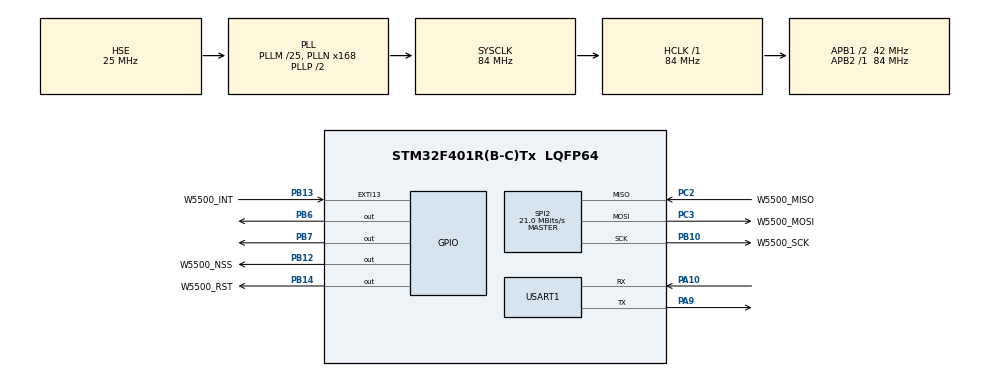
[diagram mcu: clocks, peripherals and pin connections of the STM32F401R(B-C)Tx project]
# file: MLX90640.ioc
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Dma.Request0=USART1_TX
Dma.Request1=USART1_RX
Dma.USART1_RX.1.Direction=DMA_PERIPH_TO_MEMORY
Dma.USART1_RX.1.FIFOMode=DMA_FIFOMODE_DISABLE
Dma.USART1_RX.1.Instance=DMA2_Stream2
Dma.USART1_RX.1.MemDataAlignment=DMA_MDATAALIGN_BYTE
Dma.USART1_RX.1.MemInc=DMA_MINC_ENABLE
Dma.USART1_RX.1.Mode=DMA_CIRCULAR
Dma.USART1_RX.1.PeriphDataAlignment=DMA_PDATAALIGN_BYTE
Dma.USART1_RX.1.PeriphInc=DMA_PINC_DISABLE
Dma.USART1_RX.1.Priority=DMA_PRIORITY_LOW
Dma.USART1_TX.0.Direction=DMA_MEMORY_TO_PERIPH
Dma.USART1_TX.0.FIFOMode=DMA_FIFOMODE_DISABLE
Dma.USART1_TX.0.Instance=DMA2_Stream7
Dma.USART1_TX.0.MemDataAlignment=DMA_MDATAALIGN_BYTE
Dma.USART1_TX.0.MemInc=DMA_MINC_ENABLE
Dma.USART1_TX.0.Mode=DMA_NORMAL
Dma.USART1_TX.0.PeriphDataAlignment=DMA_PDATAALIGN_BYTE
Dma.USART1_TX.0.PeriphInc=DMA_PINC_DISABLE
Dma.USART1_TX.0.Priority=DMA_PRIORITY_LOW
Mcu.Family=STM32F4
Mcu.Name=STM32F401R(B-C)Tx
Mcu.Package=LQFP64
NVIC.DMA2_Stream2_IRQn=true\:0\:0\:false\:false\:true\:false\:true
NVIC.DMA2_Stream7_IRQn=true\:0\:0\:false\:false\:true\:false\:true
NVIC.PriorityGroup=NVIC_PRIORITYGROUP_4
NVIC.USART1_IRQn=true\:0\:0\:false\:false\:true\:true\:true
PA10.Mode=Asynchronous
PA10.Signal=USART1_RX
PA13.Mode=Serial_Wire
PA13.Signal=SYS_JTMS-SWDIO
PA14.Mode=Serial_Wire
PA14.Signal=SYS_JTCK-SWCLK
PA9.Mode=Asynchronous
PA9.Signal=USART1_TX
PB10.GPIO_Label=W5500_SCK
PB10.Mode=Full_Duplex_Master
PB10.Signal=SPI2_SCK
PB12.GPIO_Label=W5500_NSS
PB12.Signal=GPIO_Output
PB13.GPIO_Label=W5500_INT
PB13.Signal=GPXTI13
PB14.GPIO_Label=W5500_RST
PB14.Signal=GPIO_Output
PB6.Signal=GPIO_Output
PB7.Signal=GPIO_Output
PC2.GPIO_Label=W5500_MISO
PC2.Mode=Full_Duplex_Master
PC2.Signal=SPI2_MISO
PC3.GPIO_Label=W5500_MOSI
PC3.Mode=Full_Duplex_Master
PC3.Signal=SPI2_MOSI
PH0\ -\ OSC_IN.Mode=HSE-External-Oscillator
PH0\ -\ OSC_IN.Signal=RCC_OSC_IN
PH1\ -\ OSC_OUT.Mode=HSE-External-Oscillator
PH1\ -\ OSC_OUT.Signal=RCC_OSC_OUT
ProjectManager.HeapSize=0x2000
ProjectManager.StackSize=0x5000
ProjectManager.TargetToolchain=STM32CubeIDE
RCC.48MHZClocksFreq_Value=42000000
RCC.AHBFreq_Value=84000000
RCC.APB1CLKDivider=RCC_HCLK_DIV2
RCC.APB1Freq_Value=42000000
RCC.APB1TimFreq_Value=84000000
RCC.APB2Freq_Value=84000000
RCC.APB2TimFreq_Value=84000000
RCC.CortexFreq_Value=84000000
RCC.HCLKFreq_Value=84000000
RCC.HSE_VALUE=25000000
RCC.HSI_VALUE=16000000
RCC.LSE_VALUE=32768
RCC.PLLM=25
RCC.PLLN=168
RCC.PLLSourceVirtual=RCC_PLLSOURCE_HSE
RCC.SYSCLKFreq_VALUE=84000000
RCC.SYSCLKSource=RCC_SYSCLKSOURCE_PLLCLK
RCC.VCOOutputFreq_Value=168000000
SPI2.BaudRatePrescaler=SPI_BAUDRATEPRESCALER_2
SPI2.CLKPolarity=SPI_POLARITY_LOW
SPI2.CalculateBaudRate=21.0 MBits/s
SPI2.Direction=SPI_DIRECTION_2LINES
SPI2.Mode=SPI_MODE_MASTER
SPI2.VirtualType=VM_MASTER
USART1.VirtualMode=VM_ASYNC
board=custom

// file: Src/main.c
/* USER CODE BEGIN Header */
/**
  ******************************************************************************
  * @file           : main.c
  * @brief          : Main program body
  ******************************************************************************
  * @attention
  *
  * <h2><center>&copy; Copyright (c) 2019 STMicroelectronics.
  * All rights reserved.</center></h2>
  *
  * This software component is licensed by ST under BSD 3-Clause license,
  * the "License"; You may not use this file except in compliance with the
  * License. You may obtain a copy of the License at:
  *                        opensource.org/licenses/BSD-3-Clause
  *
  ******************************************************************************
  */
/* USER CODE END Header */

#include "main.h"
#include "dma.h"
#include "spi.h"
#include "usart.h"
#include "gpio.h"

/* USER CODE BEGIN Includes */
#include "delay.h"
#include "MLX90640_API.h"
#include "network.h"
#include "w5500.h"
#include "socket.h"

#include "stm32f4xx_hal_uart.h"
/* USER CODE END Includes */

/* USER CODE BEGIN PD */
#define  Rate2HZ   0x02
#define  Rate4HZ   0x03
#define  Rate8HZ   0x04
#define  Rate16HZ  0x05
#define  Rate32HZ  0x06

#define  MLX_I2C_ADDR 0x33
#define	 RefreshRate Rate4HZ
#define  TA_SHIFT 8 //Default shift for MLX90640 in open air
#define USART1_RXBUF_SIZE 40
#define		GET_PREV_INDEX(index)	((index <= 0)? USART1_RXBUF_SIZE-1: index-1)
#define		GET_NEXT_INDEX(index)	((index >= USART1_RXBUF_SIZE-1)? 0: index+1)
/* USER CODE END PD */

/* USER CODE BEGIN PM */
static uint16_t USART1_RxIndex = 0;
static FlagStatus USART1_RXFLAG = RESET;
uint8_t read_buffer[40];
extern DMA_HandleTypeDef hdma_usart1_rx;
struct ConfigPack config_pack;
/* USER CODE END PM */

/* USER CODE BEGIN PV */
uint32_t USART1_Read(uint8_t * const buf, uint32_t length);
void writeConfifPackToFlash();
void readConfigPackFromFlash();
/* USER CODE END PV */

void SystemClock_Config(void);

/* USER CODE BEGIN 0 */

struct UploadNetwork
{
	unsigned long id;
	float target_temperature;
	float self_temperature;

};

struct UploadUart
{
	unsigned short start;
	unsigned short target_temperature[768];
	unsigned short self_temperature;
};

struct ConfigPack
{
    unsigned char id;
    unsigned char sip[4];
    unsigned char dip[4];
    unsigned short s_port;
    unsigned short d_port;
    unsigned char row_start;
    unsigned char row_end;
    unsigned char column_start;
    unsigned char column_end;
};

/* USER CODE END 0 */

int main(void)
{
  /* USER CODE BEGIN 1 */
	static uint16_t eeMLX90640[832];
	uint16_t frame[834];
	float Ta,tr;
	float emissivity=0.95;
	static float mlx90640To[768];
	u16 i=0;
	struct UploadUart upload_uart;
	upload_uart.start = 0x697e; //~!
	struct UploadNetwork upload_network;
	upload_network.id = DEVICE_ID;

  /* USER CODE END 1 */

  /* MCU Configuration--------------------------------------------------------*/

  /* Reset of all peripherals, Initializes the Flash interface and the Systick. */
  HAL_Init();

  /* Configure the system clock */
  SystemClock_Config();

  /* Initialize all configured peripherals */
  MX_GPIO_Init();
  MX_DMA_Init();
  MX_SPI2_Init();
  MX_USART1_UART_Init();
  /* USER CODE BEGIN 2 */

	HAL_UART_Receive_DMA(&huart1, read_buffer, 40);
	readConfigPackFromFlash();
	network_init();

	Delay_Init(84);
	MLX90640_SetRefreshRate(MLX_I2C_ADDR, RefreshRate);
	MLX90640_SetChessMode(MLX_I2C_ADDR);
	paramsMLX90640 mlx90640;
	MLX90640_DumpEE(MLX_I2C_ADDR, eeMLX90640);
	MLX90640_ExtractParameters(eeMLX90640, &mlx90640);

	for(i=0;i<3;i++)//Lose the start frame
	{
			MLX90640_GetFrameData(MLX_I2C_ADDR, frame);
			delay_ms(500);
	}
  /* USER CODE END 2 */

  /* Infinite loop */
  while (1)
  {

    /* USER CODE BEGIN 3 */
		MLX90640_GetFrameData(MLX_I2C_ADDR, frame);
		Ta = MLX90640_GetTa(frame, &mlx90640);
		tr = Ta - TA_SHIFT;
		MLX90640_CalculateTo(frame, &mlx90640, emissivity, tr, mlx90640To);

		for(i=0;i<768;i++)//hundredfold,first send low 8bit and then high 8bit,DMA circular transfer
		{
			upload_uart.target_temperature[i] = (unsigned short)(mlx90640To[i]*100);
		}

		upload_uart.self_temperature = (unsigned short)(Ta*100);

		HAL_UART_Transmit_DMA(&huart1, (uint8_t *)&upload_uart,  sizeof(struct UploadUart));

		upload_network.target_temperature = 0;
		for(int row=6; row<18;row++)
		{
			for(int column=12; column<20;column++)
			{
				upload_network.target_temperature += mlx90640To[32*row+column];
			}
		}
		upload_network.target_temperature = upload_network.target_temperature / 96;

		upload_network.self_temperature = Ta;

		sendto(0, (uint8_t *)&upload_network, sizeof(struct UploadNetwork), config_pack.dip, config_pack.d_port);

		int read_size = USART1_Read((uint8_t *)&config_pack, sizeof(struct ConfigPack));
		if(read_size > 0)
		{
			writeConfifPackToFlash();
		}

  }
  /* USER CODE END 3 */
}

void SystemClock_Config(void)
{
  RCC_OscInitTypeDef RCC_OscInitStruct = {0};
  RCC_ClkInitTypeDef RCC_ClkInitStruct = {0};

  /** Configure the main internal regulator output voltage
  */
  __HAL_RCC_PWR_CLK_ENABLE();
  __HAL_PWR_VOLTAGESCALING_CONFIG(PWR_REGULATOR_VOLTAGE_SCALE2);
  /** Initializes the CPU, AHB and APB busses clocks
  */
  RCC_OscInitStruct.OscillatorType = RCC_OSCILLATORTYPE_HSE;
  RCC_OscInitStruct.HSEState = RCC_HSE_ON;
  RCC_OscInitStruct.PLL.PLLState = RCC_PLL_ON;
  RCC_OscInitStruct.PLL.PLLSource = RCC_PLLSOURCE_HSE;
  RCC_OscInitStruct.PLL.PLLM = 25;
  RCC_OscInitStruct.PLL.PLLN = 168;
  RCC_OscInitStruct.PLL.PLLP = RCC_PLLP_DIV2;
  RCC_OscInitStruct.PLL.PLLQ = 4;
  if (HAL_RCC_OscConfig(&RCC_OscInitStruct) != HAL_OK)
  {
    Error_Handler();
  }
  /** Initializes the CPU, AHB and APB busses clocks
  */
  RCC_ClkInitStruct.ClockType = RCC_CLOCKTYPE_HCLK|RCC_CLOCKTYPE_SYSCLK
                              |RCC_CLOCKTYPE_PCLK1|RCC_CLOCKTYPE_PCLK2;
  RCC_ClkInitStruct.SYSCLKSource = RCC_SYSCLKSOURCE_PLLCLK;
  RCC_ClkInitStruct.AHBCLKDivider = RCC_SYSCLK_DIV1;
  RCC_ClkInitStruct.APB1CLKDivider = RCC_HCLK_DIV2;
  RCC_ClkInitStruct.APB2CLKDivider = RCC_HCLK_DIV1;

  if (HAL_RCC_ClockConfig(&RCC_ClkInitStruct, FLASH_LATENCY_2) != HAL_OK)
  {
    Error_Handler();
  }
}

/* USER CODE BEGIN 4 */
void UART1_IDLEHandler(void)
{
  uint32_t tmp_flag = 0, tmp_it_source = 0;

  tmp_flag = __HAL_UART_GET_FLAG(&huart1, UART_FLAG_IDLE);
  tmp_it_source = __HAL_UART_GET_IT_SOURCE(&huart1, UART_IT_IDLE);

  if((tmp_flag != RESET) && (tmp_it_source != RESET))
  {
		__HAL_UART_CLEAR_IDLEFLAG(&huart1);
		__HAL_UART_ENABLE_IT(&huart1, UART_IT_IDLE);
		USART1_RXFLAG = SET;
  }
}

uint32_t USART1_Read(uint8_t * const buf, uint32_t length)
{
	uint16_t size = 0;
	uint16_t index  = 0;

	if(USART1_RXFLAG != RESET)
	{
		USART1_RXFLAG = RESET;
		index = USART1_RXBUF_SIZE - __HAL_DMA_GET_COUNTER(&hdma_usart1_rx);

		while((USART1_RxIndex != index) && (size < length))
		{
			buf[size++] = read_buffer[USART1_RxIndex];
			USART1_RxIndex = GET_NEXT_INDEX(USART1_RxIndex);
		}
		return size;

	}
	return 0;

}

void writeConfifPackToFlash(void)
{
	uint32_t startAddress = 0x08020000;
	uint32_t SectorError;

	static FLASH_EraseInitTypeDef EraseInitStruct;
	HAL_FLASH_Unlock();    //解锁,删除和写入必须先解锁,规定的
	EraseInitStruct.TypeErase = TYPEERASE_SECTORS;
	EraseInitStruct .VoltageRange =VOLTAGE_RANGE_3 ;
	EraseInitStruct.Sector = FLASH_SECTOR_5;
	EraseInitStruct.NbSectors = 1;
	//以上,定义删除类型是SECTORS就是块,提供的电压是3.3v的所以选VOLTAGE_RANGE_3
	HAL_FLASHEx_Erase(&EraseInitStruct, &SectorError);
	//清除函数,如果出错则错误码存储到SectorError这个里面

	//设置了准备写入数据的起始地址和结束地址
	uint8_t *ptr = (uint8_t *)&config_pack;
	for(int i=0; i<sizeof(struct ConfigPack);i++)
    {
		if (HAL_FLASH_Program(TYPEPROGRAM_BYTE, startAddress, ptr[i]) == HAL_OK)
		{
			startAddress += 1;
		}
    }
	HAL_FLASH_Lock();
}

void readConfigPackFromFlash()
{
	uint32_t startAddress = 0x08020000;
	uint8_t *ptr = (uint8_t *)&config_pack;
	for(int i=0; i<sizeof(struct ConfigPack);i++)
    {
		ptr[i] = *(__IO uint8_t*)(startAddress + i);
    }

}

/* USER CODE END 4 */

void Error_Handler(void)
{
}

/************************ (C) COPYRIGHT STMicroelectronics *****END OF FILE****/
